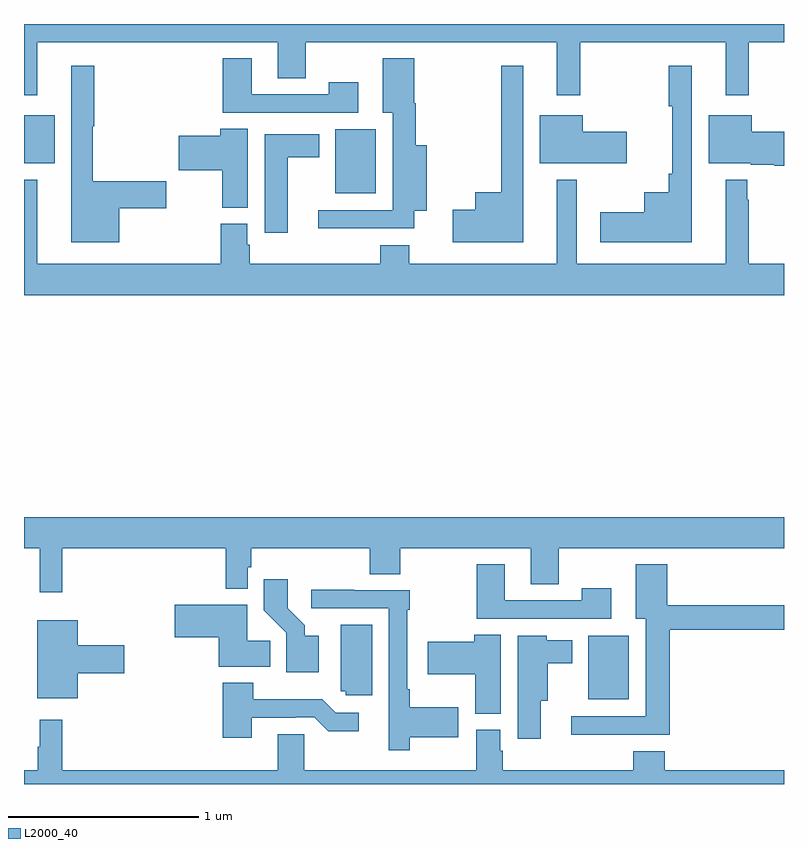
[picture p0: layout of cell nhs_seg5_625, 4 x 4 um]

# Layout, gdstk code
import gdstk
lib = gdstk.Library(unit=1e-6, precision=1e-09)
def R(c, l, rs):  # rectangles x0, y0, x1, y1
    for r in rs: c.add(gdstk.rectangle(r[:2], r[2:], *l))
def P(c, l, *ps):  # polygons
    for p in ps: c.add(gdstk.Polygon(p, *l))
L2000_40 = (2000, 40)

nhs_seg5_625 = lib.new_cell('nhs_seg5_625')
R(nhs_seg5_625, L2000_40, [(151.97,909.245,152.182,909.58), (150.638,911.909,150.85,912.244), (149,912.065,149.161,912.319)])
P(nhs_seg5_625, L2000_40, [(149.071,912.704),(150.335,912.704),(150.335,912.514),(150.483,912.514),(150.483,912.704),(151.805,912.704),(151.805,912.423),(151.927,912.423),(151.927,912.704),(152.693,912.704),(152.693,912.423),(152.815,912.423),(152.815,912.704),(153,912.704),(153,912.799),(149,912.799),(149,912.423),(149.071,912.423)],
  [(151.054,911.816),(151.12,911.816),(151.12,912.16),(151.062,912.16),(151.062,912.381),(151.054,912.381),(151.054,912.619),(150.887,912.619),(150.887,912.332),(150.941,912.332),(150.941,911.82),(150.549,911.82),(150.549,911.723),(151.054,911.723)],
  [(150.76,912.493),(150.604,912.493),(150.604,912.429),(150.199,912.429),(150.199,912.619),(150.047,912.619),(150.047,912.333),(150.76,912.333)],
  [(152.515,912.58),(152.394,912.58),(152.394,912.367),(152.411,912.367),(152.411,912.01),(152.394,912.01),(152.394,911.914),(152.264,911.914),(152.264,911.809),(152.034,911.809),(152.034,911.651),(152.515,911.651)],
  [(149.5,911.83),(149.749,911.83),(149.749,911.972),(149.363,911.972),(149.363,912.261),(149.371,912.261),(149.371,912.58),(149.249,912.58),(149.249,911.651),(149.5,911.651)],
  [(151.627,912.58),(151.513,912.58),(151.513,911.914),(151.376,911.914),(151.376,911.822),(151.257,911.822),(151.257,911.651),(151.627,911.651)],
  [(152.173,912.231),(151.942,912.231),(151.942,912.319),(151.715,912.319),(151.715,912.065),(152.173,912.065)],
  [(153,912.231),(152.83,912.231),(152.83,912.319),(152.603,912.319),(152.603,912.065),(152.826,912.065),(152.826,912.059),(152.948,912.059),(152.948,912.053),(153,912.053)],
  [(150.178,912.248),(150.032,912.248),(150.032,912.212),(149.814,912.212),(149.814,912.029),(150.044,912.029),(150.044,911.833),(150.178,911.833)],
  [(150.388,912.098),(150.553,912.098),(150.553,912.22),(150.266,912.22),(150.266,911.7),(150.388,911.7)],
  [(153,911.536),(152.815,911.536),(152.815,911.873),(152.807,911.873),(152.807,911.98),(152.693,911.98),(152.693,911.536),(151.909,911.536),(151.909,911.98),(151.805,911.98),(151.805,911.536),(151.027,911.536),(151.027,911.635),(150.875,911.635),(150.875,911.536),(150.188,911.536),(150.188,911.637),(150.175,911.637),(150.175,911.748),(150.035,911.748),(150.035,911.536),(149.071,911.536),(149.071,911.98),(149,911.98),(149,911.372),(153,911.372)],
  [(149.201,910.04),(150.061,910.04),(150.061,909.827),(150.177,909.827),(150.177,909.939),(150.197,909.939),(150.197,910.04),(150.821,910.04),(150.821,909.904),(150.981,909.904),(150.981,910.04),(151.667,910.04),(151.667,909.85),(151.815,909.85),(151.815,910.04),(153,910.04),(153,910.204),(149,910.204),(149,910.04),(149.084,910.04),(149.084,909.807),(149.201,909.807)],
  [(152.092,909.829),(151.936,909.829),(151.936,909.765),(151.531,909.765),(151.531,909.955),(151.384,909.955),(151.384,909.669),(152.092,909.669)],
  [(152.399,909.61),(153,909.61),(153,909.739),(152.386,909.739),(152.386,909.955),(152.219,909.955),(152.219,909.668),(152.273,909.668),(152.273,909.156),(151.881,909.156),(151.881,909.059),(152.399,909.059)],
  [(150.55,909.58),(150.478,909.58),(150.478,909.635),(150.388,909.725),(150.388,909.877),(150.262,909.877),(150.262,909.714),(150.381,909.595),(150.381,909.387),(150.55,909.387)],
  [(151.03,909.044),(151.285,909.044),(151.285,909.202),(151.03,909.202),(151.03,909.298),(151.017,909.298),(151.017,909.716),(151.03,909.716),(151.03,909.819),(150.737,909.819),(150.737,909.822),(150.513,909.822),(150.513,909.723),(150.921,909.723),(150.921,909.198),(150.92,909.198),(150.92,908.976),(151.03,908.976)],
  [(150.296,909.554),(150.175,909.554),(150.175,909.742),(149.793,909.742),(149.793,909.572),(150.026,909.572),(150.026,909.416),(150.296,909.416)],
  [(149.284,909.383),(149.527,909.383),(149.527,909.53),(149.284,909.53),(149.284,909.661),(149.069,909.661),(149.069,909.251),(149.284,909.251)],
  [(150.832,909.637),(150.668,909.637),(150.668,909.288),(150.693,909.288),(150.693,909.267),(150.832,909.267)],
  [(151.51,909.584),(151.369,909.584),(151.369,909.548),(151.125,909.548),(151.125,909.377),(151.376,909.377),(151.376,909.169),(151.51,909.169)],
  [(151.72,909.236),(151.756,909.236),(151.756,909.434),(151.885,909.434),(151.885,909.556),(151.752,909.556),(151.752,909.58),(151.598,909.58),(151.598,909.036),(151.72,909.036)],
  [(150.199,909.147),(150.428,909.147),(150.428,909.15),(150.528,909.15),(150.601,909.077),(150.763,909.077),(150.763,909.174),(150.642,909.174),(150.571,909.245),(150.207,909.245),(150.207,909.331),(150.047,909.331),(150.047,909.042),(150.199,909.042)],
  [(152.207,908.971),(152.207,908.872),(151.52,908.872),(151.52,908.973),(151.507,908.973),(151.507,909.084),(151.379,909.084),(151.379,908.872),(150.474,908.872),(150.474,909.062),(150.335,909.062),(150.335,908.872),(149.201,908.872),(149.201,909.136),(149.084,909.136),(149.084,908.996),(149.073,908.996),(149.073,908.872),(149,908.872),(149,908.799),(153,908.799),(153,908.872),(152.372,908.872),(152.372,908.971)])

lib.write_gds('nhs_seg5_625.gds')
